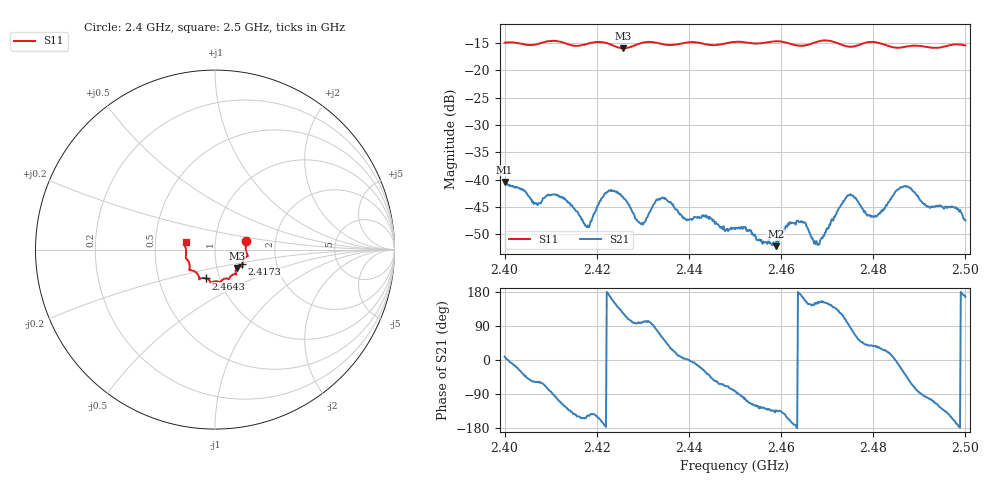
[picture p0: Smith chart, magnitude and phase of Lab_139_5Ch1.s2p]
# Hz S RI R 50
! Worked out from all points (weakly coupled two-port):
!   601 points, 2.4 GHz to 2.5 GHz, reference 50 ohm
!   highest |S21| = -40.44 dB at 2.4 GHz (marker M1); lowest = -52.2 dB at 2.4588 GHz (marker M2)
!   lowest |S11| = -15.9 dB at 2.4257 GHz (marker M3), VSWR 1.38, Z = 62.5 - j13.1 ohm
!   |S11| at or under -10 dB: start of sweep to end of sweep
!   S12 and S22 are empty: the file has one direction only
!   S11 on the Smith chart (normalised r, x): 2.4 GHz: 1.41, +0.14; 2.4173 GHz: 1.34, -0.23; 2.4643 GHz: 0.86, -0.28; 2.5 GHz: 0.72, +0.06
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2.4e9  0.1727 0.0488  0.00939 0.00147  0 0  0 0
2.406833e9  0.173 -0.00833  0.00319 -0.00518  0 0  0 0
2.412667e9  0.1762 -0.0399  -0.00307 -0.00594  0 0  0 0
2.416667e9  0.1528 -0.0743  -0.00386 -0.00189  0 0  0 0
2.417333e9  0.1519 -0.0817  -0.00355 -0.00171  0 0  0 0
2.422333e9  0.1498 -0.0947  -0.00767 0.000492  0 0  0 0
2.425667e9  0.1228 -0.1022  -0.00391 0.00575  0 0  0 0
2.429667e9  0.1168 -0.1348  -0.000657 0.00383  0 0  0 0
2.433333e9  0.1131 -0.1374  0.00177 0.00627  0 0  0 0
2.4395e9  0.0795 -0.1618  0.00422 0.000156  0 0  0 0
2.45e9  0.029 -0.1808  0.000512 -0.00346  0 0  0 0
2.458833e9  -0.0219 -0.1838  -0.00166 -0.0018  0 0  0 0
2.4615e9  -0.0281 -0.1756  -0.00356 -0.00168  0 0  0 0
2.464333e9  -0.0499 -0.1607  -0.00411 0.000622  0 0  0 0
2.466667e9  -0.0759 -0.1592  -0.00234 0.0017  0 0  0 0
2.4685e9  -0.0869 -0.1649  -0.00246 0.00128  0 0  0 0
2.474667e9  -0.1029 -0.1295  -0.000432 0.00712  0 0  0 0
2.479667e9  -0.1429 -0.1141  0.00362 0.00288  0 0  0 0
2.483333e9  -0.1409 -0.0899  0.0059 0.00197  0 0  0 0
2.487167e9  -0.1563 -0.0547  0.00635 -0.00576  0 0  0 0
2.491833e9  -0.1613 -0.027  -0.000994 -0.00561  0 0  0 0
2.5e9  -0.164 0.0425  -0.00411 0.000979  0 0  0 0
